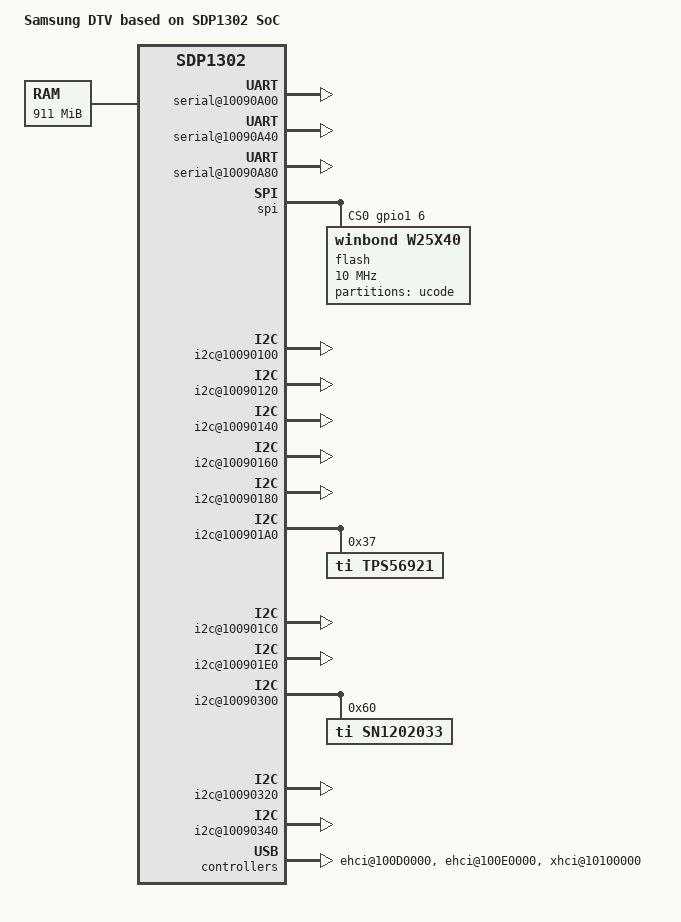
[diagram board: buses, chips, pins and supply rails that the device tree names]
/*
 * Copyright (C) 2013 Samsung Electronics Co.Ltd
 *
 * This program is free software; you can redistribute it and/or modify
 * it under the terms of the GNU General Public License version 2 as
 * published by the Free Software Foundation.
 */

/dts-v1/;
#include "sdp1302.dtsi"

/ {
	model = "Samsung DTV based on SDP1302 SoC";
	compatible = "samsung,dtv", "samsung,sdp1302";

	memory {
		device_type = "memory";
		reg =  <0x40000000 0x23900000>, <0xc0000000 0x15600000>;
	};

	chosen {
		bootargs = "console=ttyS0,115200N8 root=/dev/mmcblk0p3 rootfstype=squashfs rootwait earlyprintk sdp_sparsemem";
	};

	fixed-rate-clocks {
		fin {
			compatible = "samsung,sdp-clock-fin";
			clock-frequency = <24576000>;
		};
		fin-lvds {
			compatible = "samsung,sdp-clock-fin-lvds";
			clock-frequency = <27000000>;
		};
	};

	serial@10090A00 {
		status = "okay";
	};

	serial@10090A40 {
		status = "okay";
	};

	serial@10090A80 {
		status = "okay";
	};

	ethernet@100B0000 {
	};

	spi: ssp@0x10090200 {
		status = "okay";
		cs-gpios = <&gpio1 6 0>;/* cs0 is o_CI_RESET Pin(gpio3.4) */

		flash: w25x40@0 {
			#address-cells = <1>;
			#size-cells = <1>;
			compatible = "winbond,w25x40";
			spi-max-frequency = <10000000>;
			reg = <0>;

			partition@0 {
				label = "ucode";
				reg = <0x0 0x80000>;
			};
		};
	};

	i2c@10090100 {
		status = "okay";
		samsung,i2c-sda-delay = <1>;
		samsung,i2c-max-bus-freq = <400000>;
		samsung,i2c-irq-status-reg = <0x100901F4>;
		samsung,i2c-cpu-affinity = <3>;
	};

	i2c@10090120 {
		status = "okay";
		samsung,i2c-sda-delay = <1>;
		samsung,i2c-max-bus-freq = <400000>;
		samsung,i2c-irq-status-reg = <0x100901F4>;
		samsung,i2c-cpu-affinity = <3>;
	};

	i2c@10090140 { 
		status = "okay";
		samsung,i2c-sda-delay = <1>;
		samsung,i2c-max-bus-freq = <400000>;
		samsung,i2c-irq-status-reg = <0x100901F4>;
		samsung,i2c-cpu-affinity = <3>;
	};

	i2c@10090160 {
		status = "okay";
		samsung,i2c-sda-delay = <1>;
		samsung,i2c-max-bus-freq = <400000>;
		samsung,i2c-irq-status-reg = <0x100901F4>;
		samsung,i2c-cpu-affinity = <3>;
	};

	i2c@10090180 {
		status = "okay";
		samsung,i2c-sda-delay = <1>;
		samsung,i2c-max-bus-freq = <400000>;
		samsung,i2c-irq-status-reg = <0x100901F4>;
		samsung,i2c-cpu-affinity = <3>;
	};

	i2c@100901A0 {
		status = "okay";
		samsung,i2c-sda-delay = <1>;
		samsung,i2c-max-bus-freq = <400000>;
		samsung,i2c-irq-status-reg = <0x100901F4>;
		samsung,i2c-cpu-affinity = <3>;

		tps56921@37 {
			compatible = "ti,tps56921";
			reg = <0x37>;

			regulator-name = "CPU_PW";
			regulator-min-microvolt = <720000>;
			regulator-max-microvolt = <1480000>;
			regulator-always-on;
			regulator-boot-on;

			default_volt = <1350000>;
		};
		
	};

	i2c@100901C0 {
		status = "okay";
		samsung,i2c-sda-delay = <1>;
		samsung,i2c-max-bus-freq = <400000>;
		samsung,i2c-irq-status-reg = <0x100901F4>;
		samsung,i2c-cpu-affinity = <3>;
	};

	i2c@100901E0 {
		status = "okay";
		samsung,i2c-sda-delay = <1>;
		samsung,i2c-max-bus-freq = <400000>;
		samsung,i2c-irq-status-reg = <0x100901F4>;
		samsung,i2c-cpu-affinity = <3>;

	};

	i2c@10090300 {
		status = "okay";
		samsung,i2c-sda-delay = <1>;
		samsung,i2c-max-bus-freq = <400000>;
		samsung,i2c-irq-status-reg = <0x100903F4>;
		samsung,i2c-cpu-affinity = <3>;


		sn1202033@60 {
			compatible = "ti,sn1202033";
			reg = <0x60>;

			regulator-min-microvolt = <680000>;
			regulator-max-microvolt = <1630000>;
			regulator-always-on;
			regulator-boot-on;

			vout1-name = "GPU_PW";
			default_volt1 = <1220000>;
			
			vout2-name = "CORE_PW";
			default_volt2 = <1300000>;
		};
	};
	
	i2c@10090320 {
		status = "okay";
		samsung,i2c-sda-delay = <1>;
		samsung,i2c-max-bus-freq = <400000>;
		samsung,i2c-irq-status-reg = <0x100903F4>;
		samsung,i2c-cpu-affinity = <3>;

	};
	
	i2c@10090340 {
		status = "okay";
		samsung,i2c-sda-delay = <1>;
		samsung,i2c-max-bus-freq = <400000>;
		samsung,i2c-irq-status-reg = <0x100903F4>;
		samsung,i2c-cpu-affinity = <3>;

	};

/*
	i2c-gpio-0 {
		compatible = "i2c-gpio";
		gpios = <&gpio1 2 0>, <&gpio1 1 0>;
		#address-cells = <1>;
		#size-cells = <0>;

		panel@76 {
			compatible = "samsung,foxft1-tcon";
			reg = <0x76>;
		};
	};
*/

	dummy_panel {
		compatible = "dummy_panel";

		display-timings {
			native-mode = <&timing0>;

			timing0: timing-0 {
				 clock-frequency = <0>;
				 hactive = <1920>;
				 vactive = <1080>;
				 hfront-porch = <0>;
				 hback-porch = <0>;
				 hsync-len = <0>;
				 vfront-porch = <0>;
				 vback-porch = <0>;
				 vsync-len = <0>;
			};
		};
	};

	ehci@100D0000 {
		status = "okay";
		samsung,sw-reset = <0x10090000 0x958 0x100000>;
		samsung,ehci-link-set = <0x100C0000 0x00 0x1e000>;
		samsung,ehci-24.576Mhz = <0x10090000 0x930 0x1000000>;
		samsung,sw-reset-release = <0x10090000 0x958 0x100000>;
		samsung,vbus-enable = <0x10090000 0xD18 0x03000000  0x40>;
	//	samsung,hsic-reset = <0x10090000 0xD18 0x00300000>;
	};

	ehci@100E0000 {
		status = "okay";
		samsung,sw-reset = <0x10090000 0x958 0x200000>;
		samsung,ehci-link-set = <0x100C0000 0x08 0x1e000>;
		samsung,sw-reset-release = <0x10090000 0x958 0x200000>;
	//	samsung,vbus-enable = <0x10090000 0xD1C 0x40>;
		samsung,hsic-reset = <0x10090000 0xD18 0x00300000 0x20>;
	};
	
	xhci@10100000 {
		status = "okay";
	};

	tmu@10090CDC {
		status = "okay";
		
		sensor_id = <0>;

		start_zero_throttle	= <40>;
		stop_zero_throttle	= <45>;
		stop_1st_throttle	= <102>;
		start_1st_throttle	= <110>;
		stop_2nd_throttle	= <112>;
		start_2nd_throttle	= <118>;
		stop_3rd_throttle	= <120>;
		start_3rd_throttle	= <125>;

		cpu_limit_1st_throttle	= <700000>;
		cpu_limit_2nd_throttle	= <400000>;
		cpu_limit_3rd_throttle	= <100000>;

		gpu_limit_1st_throttle	= <250000>;
		gpu_limit_2nd_throttle	= <200000>;
		gpu_limit_3rd_throttle	= <50000>;

		log_file_path = "/rwarea/ThermalThrottle.txt";
	};
};
